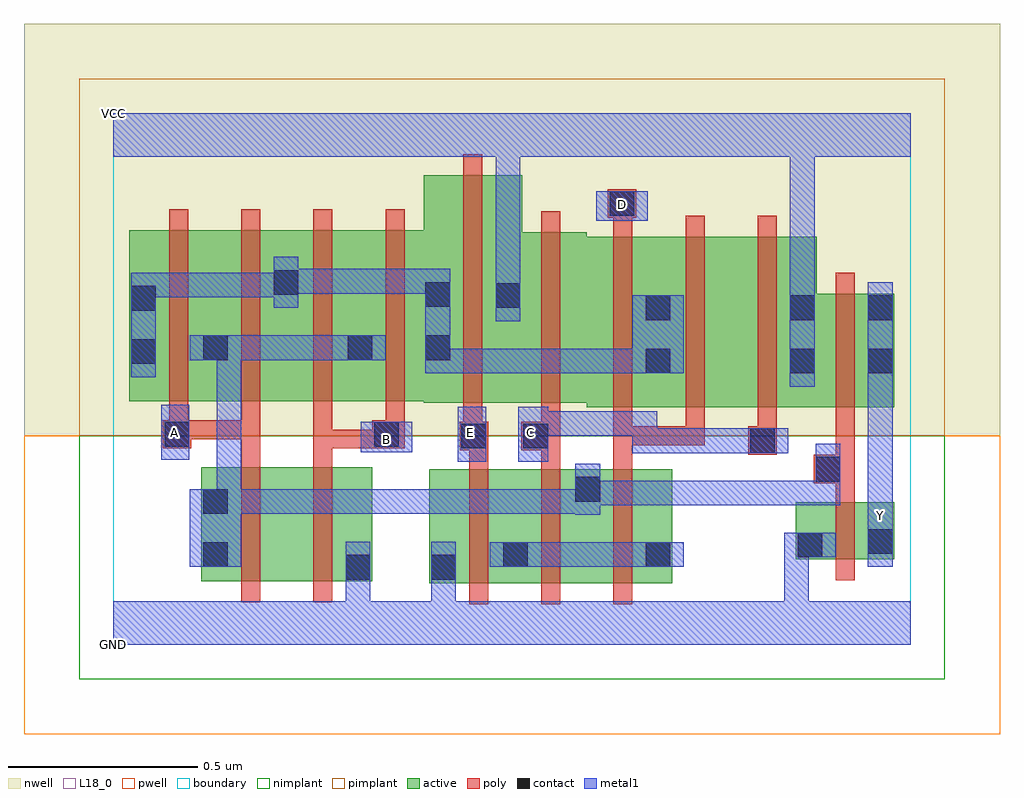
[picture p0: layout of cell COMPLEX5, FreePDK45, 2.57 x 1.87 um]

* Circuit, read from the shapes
.subckt COMPLEX5 A B C D E GND VCC Y
M1 n1 A n2 VSUBS nfet w=0.3u l=0.05u
M2 GND B n1 VSUBS nfet w=0.3u l=0.05u
M3 n3 E GND VSUBS nfet w=0.3u l=0.05u
M4 n2 C n3 VSUBS nfet w=0.3u l=0.05u
M5 n3 D n2 VSUBS nfet w=0.3u l=0.05u
M6 Y n2 GND VSUBS nfet w=0.15u l=0.05u
M7 n2 A n4 n5 pfet w=0.45u l=0.05u m=2
M8 n2 B n4 n5 pfet w=0.45u l=0.05u m=2
M9 VCC E n4 n5 pfet w=0.6u l=0.05u
M10 n6 C VCC n5 pfet w=0.45u l=0.05u
M11 n4 D n6 n5 pfet w=0.45u l=0.05u
M12 n7 D n4 n5 pfet w=0.45u l=0.05u
M13 VCC C n7 n5 pfet w=0.45u l=0.05u
M14 Y n2 VCC n5 pfet w=0.3u l=0.05u
.ends

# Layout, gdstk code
import gdstk
lib = gdstk.Library(unit=1e-6, precision=1e-09)
def R(c, l, rs):  # rectangles x0, y0, x1, y1
    for r in rs: c.add(gdstk.rectangle(r[:2], r[2:], *l))
def A(c, l, x, y, w, h, nx, ny, dx, dy):  # array of equal rectangles
    R(c, l, [(x+i*dx, y+j*dy, x+i*dx+w, y+j*dy+h) for i in range(nx) for j in range(ny)])
active = (1, 0)
pwell = (2, 0)
nwell = (3, 0)
nimplant = (4, 0)
pimplant = (5, 0)
poly = (9, 0)
contact = (10, 0)
metal1 = (11, 0)
L18_0 = (18, 0)
boundary = (235, 0)

complex5 = lib.new_cell('COMPLEX5')
R(complex5, active, [(0.832,0.162,1.097,0.462), (1.022,0.162,1.287,0.462), (1.212,0.162,1.472,0.462), (0.232,0.167,0.457,0.467), (0.457,0.167,0.682,0.467), (0.607,0.167,0.682,0.467), (0.832,0.167,0.907,0.462), (0.232,0.195,0.337,0.467), (1.022,0.195,1.097,0.397), (1.212,0.195,1.287,0.447), (1.397,0.195,1.472,0.462), (1.797,0.225,2.057,0.375), (1.797,0.225,1.872,0.375), (1.982,0.235,2.057,0.375), (1.247,0.625,1.472,1.075), (1.397,0.625,1.627,1.075), (1.397,0.625,1.472,1.055), (1.627,0.625,1.852,1.075), (1.777,0.625,2.057,0.925), (1.777,0.625,1.852,1.075), (1.982,0.625,2.057,0.925), (0.817,0.637,1.077,1.237), (1.002,0.637,1.247,1.087), (0.042,0.642,0.117,1.055), (0.042,0.642,0.307,1.092), (0.232,0.642,0.307,1.055), (0.232,0.642,0.492,1.092), (0.417,0.642,0.687,1.092), (0.417,0.642,0.492,1.055), (0.612,0.642,0.892,1.092), (0.817,0.682,0.892,1.2), (1.002,0.722,1.077,1.237), (0.612,0.745,0.687,1.055)])
R(complex5, pwell, [(-0.235,-0.235,2.335,0.55)])
R(complex5, nwell, [(-0.235,0.55,2.335,1.635)])
R(complex5, nimplant, [(-0.09,-0.09,2.19,0.55)])
R(complex5, pimplant, [(-0.09,0.55,2.19,1.49)])
A(complex5, poly, 0.937, 0.107, 0.05, 0.41, 3, 1, 0.19, 0)
A(complex5, poly, 1.317, 0.525, 0.05, 0.095, 3, 1, 0.19, 0)
A(complex5, poly, 1.317, 0.57, 0.05, 0.56, 3, 1, 0.19, 0)
A(complex5, poly, 0.147, 0.587, 0.05, 0.56, 4, 1, 0.19, 0)
R(complex5, poly, [(0.337,0.112,0.387,0.522), (0.527,0.112,0.577,0.522), (1.902,0.17,1.952,0.43), (1.902,0.38,1.952,0.475), (1.845,0.425,1.952,0.5), (1.902,0.45,1.952,0.62), (0.937,0.467,0.987,0.562), (1.127,0.467,1.177,0.562), (1.317,0.467,1.367,0.575), (0.337,0.472,0.387,0.592), (0.527,0.472,0.577,0.567), (1.672,0.5,1.747,0.575), (0.912,0.512,0.987,0.587), (1.075,0.512,1.177,0.587), (0.13,0.517,0.205,0.592), (0.527,0.517,0.577,0.567), (0.527,0.517,0.577,0.567), (0.527,0.517,0.577,0.567), (0.527,0.517,0.732,0.567), (0.527,0.517,0.577,0.637), (0.682,0.517,0.767,0.592), (1.317,0.525,1.367,0.575), (1.317,0.525,1.557,0.575), (1.507,0.525,1.557,0.575), (1.507,0.525,1.557,0.575), (1.507,0.525,1.557,0.575), (0.922,0.537,0.972,0.632), (1.127,0.537,1.177,0.632), (0.147,0.542,0.197,0.637), (0.155,0.542,0.387,0.592), (0.337,0.542,0.387,0.637), (0.337,0.542,0.387,0.592), (0.337,0.542,0.387,0.592), (0.337,0.542,0.387,0.592), (0.717,0.542,0.767,0.637), (1.902,0.57,1.952,0.98), (0.922,0.582,0.972,1.292), (1.127,0.582,1.177,1.142), (1.317,1.08,1.367,1.175), (1.302,1.125,1.377,1.2)])
R(complex5, contact, [(0.612,0.172,0.677,0.237), (0.837,0.172,0.902,0.237), (0.237,0.205,0.302,0.27), (1.027,0.205,1.092,0.27), (1.402,0.205,1.467,0.27), (1.802,0.23,1.867,0.295), (1.987,0.24,2.052,0.305), (0.237,0.345,0.302,0.41), (1.217,0.377,1.282,0.442), (1.85,0.43,1.915,0.495), (1.677,0.505,1.742,0.57), (0.917,0.517,0.982,0.582), (1.08,0.517,1.145,0.582), (0.135,0.522,0.2,0.587), (0.687,0.522,0.752,0.587), (1.402,0.715,1.467,0.78), (1.782,0.715,1.847,0.78), (1.987,0.715,2.052,0.78), (0.047,0.74,0.112,0.805), (0.237,0.75,0.302,0.815), (0.617,0.75,0.682,0.815), (0.822,0.75,0.887,0.815), (1.402,0.855,1.467,0.92), (1.782,0.855,1.847,0.92), (1.987,0.855,2.052,0.92), (0.047,0.88,0.112,0.945), (1.007,0.887,1.072,0.952), (0.822,0.89,0.887,0.955), (0.422,0.922,0.487,0.987), (1.307,1.13,1.372,1.195)])
R(complex5, metal1, [(0,0,2.1,0.115), (0.612,0.05,0.677,0.202), (0.837,0.05,0.902,0.115), (0.837,0.05,0.902,0.115), (0.837,0.05,0.902,0.202), (1.767,0.05,1.832,0.115), (1.767,0.05,1.832,0.115), (1.767,0.05,1.832,0.115), (1.767,0.05,1.832,0.115), (1.767,0.05,1.832,0.295), (0.612,0.137,0.677,0.202), (0.612,0.137,0.677,0.202), (0.612,0.137,0.677,0.272), (0.837,0.137,0.902,0.272), (0.202,0.205,0.337,0.41), (0.992,0.205,1.127,0.27), (1.062,0.205,1.127,0.27), (1.062,0.205,1.127,0.27), (1.062,0.205,1.295,0.27), (1.23,0.205,1.295,0.27), (1.23,0.205,1.432,0.27), (1.367,0.205,1.432,0.27), (1.367,0.205,1.432,0.27), (1.367,0.205,1.502,0.27), (1.987,0.205,2.052,0.34), (1.767,0.23,1.902,0.295), (1.987,0.272,2.052,0.407), (1.987,0.275,2.052,0.34), (1.217,0.342,1.282,0.477), (1.987,0.342,2.052,0.745), (0.272,0.345,0.337,0.41), (0.272,0.345,0.337,0.41), (0.272,0.345,0.487,0.41), (0.272,0.345,0.337,0.547), (0.422,0.345,0.487,0.41), (0.422,0.345,0.487,0.41), (0.422,0.345,0.487,0.41), (0.422,0.345,0.625,0.41), (0.56,0.345,0.625,0.41), (0.56,0.345,0.625,0.41), (0.56,0.345,0.625,0.41), (0.56,0.345,0.92,0.41), (0.855,0.345,0.92,0.41), (0.855,0.345,0.92,0.41), (0.855,0.345,0.92,0.41), (0.855,0.345,1.082,0.41), (1.017,0.345,1.082,0.41), (1.017,0.345,1.082,0.41), (1.017,0.345,1.082,0.41), (1.017,0.345,1.282,0.41), (1.217,0.367,1.432,0.432), (1.367,0.367,1.432,0.432), (1.367,0.367,1.432,0.432), (1.367,0.367,1.432,0.432), (1.367,0.367,1.57,0.432), (1.505,0.367,1.57,0.432), (1.505,0.367,1.695,0.432), (1.63,0.367,1.695,0.432), (1.63,0.367,1.707,0.432), (1.642,0.367,1.707,0.432), (1.642,0.367,1.915,0.432), (1.85,0.367,1.915,0.432), (1.85,0.367,1.915,0.46), (1.85,0.395,1.915,0.46), (1.85,0.395,1.915,0.46), (1.85,0.395,1.915,0.53), (0.272,0.482,0.337,0.547), (0.272,0.482,0.337,0.815), (0.907,0.482,0.982,0.627), (1.067,0.482,1.145,0.627), (0.127,0.487,0.2,0.632), (1.367,0.505,1.57,0.57), (1.367,0.505,1.432,0.615), (1.505,0.505,1.57,0.57), (1.505,0.505,1.695,0.57), (1.63,0.505,1.695,0.57), (1.63,0.505,1.707,0.57), (1.642,0.505,1.777,0.57), (0.652,0.507,0.787,0.587), (1.08,0.55,1.265,0.615), (1.2,0.55,1.265,0.615), (1.2,0.55,1.432,0.615), (1.367,0.55,1.432,0.615), (1.367,0.55,1.432,0.615), (1.782,0.68,1.847,0.955), (1.987,0.68,2.052,0.955), (0.047,0.705,0.112,0.98), (0.822,0.715,0.887,0.99), (0.822,0.715,0.887,0.78), (0.822,0.715,0.887,0.78), (0.822,0.715,0.887,0.78), (0.822,0.715,0.887,0.78), (0.822,0.715,1.057,0.78), (0.992,0.715,1.057,0.78), (0.992,0.715,1.057,0.78), (0.992,0.715,1.057,0.78), (0.992,0.715,1.265,0.78), (1.2,0.715,1.265,0.78), (1.2,0.715,1.432,0.78), (1.367,0.715,1.432,0.78), (1.367,0.715,1.432,0.78), (1.367,0.715,1.502,0.92), (0.202,0.75,0.337,0.815), (0.272,0.75,0.337,0.815), (0.272,0.75,0.337,0.815), (0.272,0.75,0.475,0.815), (0.41,0.75,0.475,0.815), (0.41,0.75,0.475,0.815), (0.41,0.75,0.475,0.815), (0.41,0.75,0.647,0.815), (0.582,0.75,0.717,0.815), (1.007,0.852,1.072,0.987), (0.422,0.887,0.487,1.022), (1.782,0.89,1.847,0.955), (1.782,0.89,1.847,0.955), (1.782,0.89,1.847,0.955), (1.782,0.89,1.847,0.955), (1.782,0.89,1.847,1.35), (0.047,0.915,0.112,0.98), (0.047,0.915,0.112,0.98), (0.047,0.915,0.337,0.98), (0.272,0.915,0.337,0.98), (0.272,0.915,0.337,0.98), (0.272,0.915,0.337,0.98), (0.272,0.915,0.487,0.98), (1.007,0.922,1.072,1.35), (0.422,0.925,0.487,0.99), (0.422,0.925,0.487,0.99), (0.422,0.925,0.625,0.99), (0.56,0.925,0.625,0.99), (0.56,0.925,0.625,0.99), (0.56,0.925,0.625,0.99), (0.56,0.925,0.887,0.99), (1.272,1.117,1.407,1.195), (0,1.285,2.1,1.4), (1.007,1.285,1.072,1.35), (1.007,1.285,1.072,1.35)])
R(complex5, L18_0, [(0,0,2.1,0.115), (0.612,0.05,0.677,0.202), (0.837,0.05,0.902,0.115), (0.837,0.05,0.902,0.115), (0.837,0.05,0.902,0.202), (1.767,0.05,1.832,0.115), (1.767,0.05,1.832,0.115), (1.767,0.05,1.832,0.115), (1.767,0.05,1.832,0.115), (1.767,0.05,1.832,0.295), (0.612,0.137,0.677,0.202), (0.612,0.137,0.677,0.202), (0.612,0.137,0.677,0.272), (0.837,0.137,0.902,0.272), (1.987,0.205,2.052,0.34), (1.767,0.23,1.902,0.295), (1.987,0.272,2.052,0.407), (1.987,0.275,2.052,0.34), (1.987,0.307,2.052,0.372), (1.987,0.342,2.052,0.745), (0.907,0.482,0.982,0.627), (1.067,0.482,1.145,0.627), (0.127,0.487,0.2,0.632), (1.367,0.505,1.432,0.615), (1.367,0.505,1.57,0.57), (1.505,0.505,1.57,0.57), (1.505,0.505,1.695,0.57), (1.63,0.505,1.695,0.57), (1.63,0.505,1.707,0.57), (1.642,0.505,1.777,0.57), (0.652,0.507,0.787,0.587), (0.687,0.507,0.752,0.572), (0.127,0.527,0.192,0.592), (0.907,0.527,0.972,0.592), (1.067,0.527,1.132,0.592), (1.08,0.55,1.265,0.615), (1.2,0.55,1.265,0.615), (1.2,0.55,1.432,0.615), (1.367,0.55,1.432,0.615), (1.367,0.55,1.432,0.615), (1.782,0.68,1.847,0.955), (1.987,0.68,2.052,0.955), (1.007,0.852,1.072,0.987), (1.782,0.89,1.847,0.955), (1.782,0.89,1.847,0.955), (1.782,0.89,1.847,0.955), (1.782,0.89,1.847,0.955), (1.782,0.89,1.847,1.35), (1.007,0.922,1.072,1.35), (1.272,1.117,1.407,1.195), (1.307,1.127,1.372,1.192), (0,1.285,2.1,1.4), (1.007,1.285,1.072,1.35), (1.007,1.285,1.072,1.35)])
R(complex5, boundary, [(0,0,2.1,1.4)])
complex5.add(gdstk.Label('A', (0.16,0.56), layer=11, texttype=0))
complex5.add(gdstk.Label('B', (0.72,0.54), layer=11, texttype=0))
complex5.add(gdstk.Label('C', (1.1,0.56), layer=11, texttype=0))
complex5.add(gdstk.Label('D', (1.34,1.16), layer=11, texttype=0))
complex5.add(gdstk.Label('E', (0.94,0.56), layer=11, texttype=0))
complex5.add(gdstk.Label('Y', (2.02,0.34), layer=11, texttype=0))
complex5.add(gdstk.Label('VCC', (0,1.4), layer=11, texttype=0))
complex5.add(gdstk.Label('GND', (0,0), layer=11, texttype=0))

lib.write_gds('COMPLEX5.gds')
